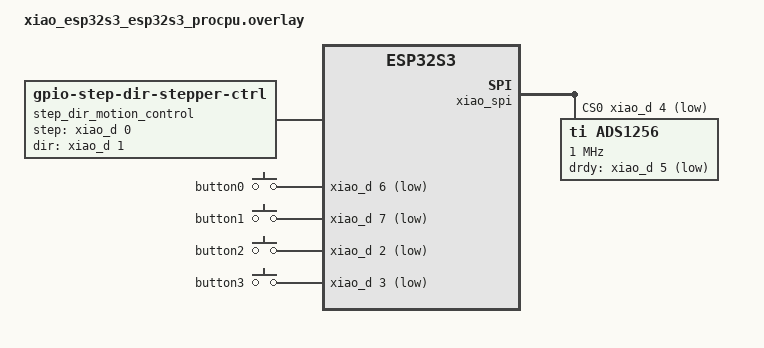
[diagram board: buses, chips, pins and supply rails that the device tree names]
#include <zephyr/dt-bindings/input/input-event-codes.h>

/*
 * XIAO ESP32-S3 pin usage (see seeed_xiao_connector.dtsi for D-number to GPIO):
 *
 *   D0  A4988 STEP          D8  SCLK  -> ADS1256 SCLK
 *   D1  A4988 DIR           D9  MISO  <- ADS1256 DOUT
 *   D2  SW3 (debug print)   D10 MOSI  -> ADS1256 DIN
 *   D3  SW4 (stream on/off) D4  CS    -> ADS1256 CS
 *   D6  SW1 (return to 0)   D5  DRDY  <- ADS1256 DRDY
 *   D7  SW2 (tighten)
 *
 * ADS1256 inputs: AIN0 = Vo (photodiode amp output), AIN1 = Vref, AINCOM = GND.
 * Tie ADS1256 RESET and SYNC/PDWN high.
 */

/ {
	aliases {
		stepper-ctrl = &step_dir_motion_control;
	};

	step_dir_motion_control: motion-controller {
		compatible = "zephyr,gpio-step-dir-stepper-ctrl";
		step-gpios = <&xiao_d 0 GPIO_ACTIVE_HIGH>;
		dir-gpios = <&xiao_d 1 GPIO_ACTIVE_HIGH>;
		invert-direction;
	};

	buttons {
		compatible = "gpio-keys";

		button0: button_0 {
			gpios = <&xiao_d 6 (GPIO_PULL_UP | GPIO_ACTIVE_LOW)>;
			zephyr,code = <INPUT_KEY_0>;
		};
		button1: button_1 {
			gpios = <&xiao_d 7 (GPIO_PULL_UP | GPIO_ACTIVE_LOW)>;
			zephyr,code = <INPUT_KEY_1>;
		};
		button2: button_2 {
			gpios = <&xiao_d 2 (GPIO_PULL_UP | GPIO_ACTIVE_LOW)>;
			zephyr,code = <INPUT_KEY_2>;
		};
		button3: button_3 {
			gpios = <&xiao_d 3 (GPIO_PULL_UP | GPIO_ACTIVE_LOW)>;
			zephyr,code = <INPUT_KEY_3>;
		};
	};
};

/* The console is the USB serial port; free D6/D7 (UART0) and D4/D5 (I2C0). */
&uart0 {
	status = "disabled";
};

&i2c0 {
	status = "disabled";
};

&xiao_spi {
	cs-gpios = <&xiao_d 4 GPIO_ACTIVE_LOW>;

	ads1256: ads1256@0 {
		compatible = "ti,ads1256";
		reg = <0>;
		spi-max-frequency = <1000000>; /* SCLK period >= 4 tCLKIN (520 ns) */
		spi-cpha; /* SPI mode 1 */
		drdy-gpios = <&xiao_d 5 GPIO_ACTIVE_LOW>;
		vref-mv = <2500>;
	};
};
